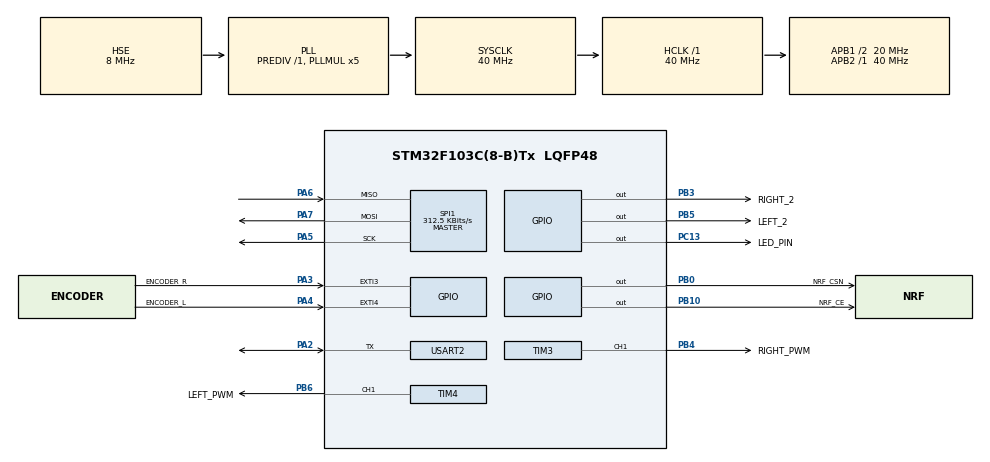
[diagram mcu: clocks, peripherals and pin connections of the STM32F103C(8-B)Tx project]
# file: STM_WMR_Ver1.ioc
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Mcu.Family=STM32F1
Mcu.Name=STM32F103C(8-B)Tx
Mcu.Package=LQFP48
NVIC.EXTI3_IRQn=true\:3\:0\:true\:false\:true\:true\:true
NVIC.EXTI4_IRQn=true\:4\:0\:true\:false\:true\:true\:true
NVIC.PriorityGroup=NVIC_PRIORITYGROUP_4
NVIC.TIM1_BRK_IRQn=true\:1\:0\:true\:false\:true\:true\:true
NVIC.TIM2_IRQn=true\:2\:0\:true\:false\:true\:true\:true
PA13.Mode=Serial_Wire
PA13.Signal=SYS_JTMS-SWDIO
PA14.Mode=Serial_Wire
PA14.Signal=SYS_JTCK-SWCLK
PA2.Mode=Half_duplex(single_wire_mode)
PA2.Signal=USART2_TX
PA3.GPIO_Label=ENCODER_R
PA3.GPIO_PuPd=GPIO_NOPULL
PA3.Signal=GPXTI3
PA4.GPIO_Label=ENCODER_L
PA4.GPIO_PuPd=GPIO_NOPULL
PA4.Signal=GPXTI4
PA5.Mode=Full_Duplex_Master
PA5.Signal=SPI1_SCK
PA6.Mode=Full_Duplex_Master
PA6.Signal=SPI1_MISO
PA7.Mode=Full_Duplex_Master
PA7.Signal=SPI1_MOSI
PB0.GPIO_Label=NRF_CSN
PB0.GPIO_Speed=GPIO_SPEED_FREQ_HIGH
PB0.Signal=GPIO_Output
PB10.GPIO_Label=NRF_CE
PB10.GPIO_Speed=GPIO_SPEED_FREQ_HIGH
PB10.Signal=GPIO_Output
PB3.GPIO_Label=RIGHT_2
PB3.GPIO_PuPd=GPIO_PULLDOWN
PB3.Signal=GPIO_Output
PB4.GPIO_Label=RIGHT_PWM
PB4.Signal=S_TIM3_CH1
PB5.GPIO_Label=LEFT_2
PB5.GPIO_PuPd=GPIO_PULLDOWN
PB5.Signal=GPIO_Output
PB6.GPIO_Label=LEFT_PWM
PB6.Signal=S_TIM4_CH1
PC13-TAMPER-RTC.GPIO_Label=LED_PIN
PC13-TAMPER-RTC.Signal=GPIO_Output
PD0-OSC_IN.Mode=HSE-External-Oscillator
PD0-OSC_IN.Signal=RCC_OSC_IN
PD1-OSC_OUT.Mode=HSE-External-Oscillator
PD1-OSC_OUT.Signal=RCC_OSC_OUT
ProjectManager.HeapSize=0x200
ProjectManager.StackSize=0x400
ProjectManager.TargetToolchain=MDK-ARM V5
RCC.AHBFreq_Value=40000000
RCC.APB1CLKDivider=RCC_HCLK_DIV2
RCC.APB1Freq_Value=20000000
RCC.APB1TimFreq_Value=40000000
RCC.APB2Freq_Value=40000000
RCC.APB2TimFreq_Value=40000000
RCC.HCLKFreq_Value=40000000
RCC.PLLMUL=RCC_PLL_MUL5
RCC.PLLSourceVirtual=RCC_PLLSOURCE_HSE
RCC.SYSCLKFreq_VALUE=40000000
RCC.SYSCLKSource=RCC_SYSCLKSOURCE_PLLCLK
RCC.USBFreq_Value=40000000
SH.S_TIM3_CH1.0=TIM3_CH1,PWM Generation1 CH1
SH.S_TIM4_CH1.0=TIM4_CH1,PWM Generation1 CH1
SPI1.BaudRatePrescaler=SPI_BAUDRATEPRESCALER_128
SPI1.CalculateBaudRate=312.5 KBits/s
SPI1.Direction=SPI_DIRECTION_2LINES
SPI1.Mode=SPI_MODE_MASTER
SPI1.VirtualType=VM_MASTER
TIM1.Period=999
TIM1.Prescaler=39
TIM2.ClockDivision=TIM_CLOCKDIVISION_DIV4
TIM2.Period=999
TIM2.Prescaler=399
TIM3.Channel-PWM\ Generation1\ CH1=TIM_CHANNEL_1
TIM3.ClockDivision=TIM_CLOCKDIVISION_DIV1
TIM3.Period=99
TIM3.Prescaler=999
TIM4.Channel-PWM\ Generation1\ CH1=TIM_CHANNEL_1
TIM4.ClockDivision=TIM_CLOCKDIVISION_DIV1
TIM4.Period=99
TIM4.Prescaler=999
USART2.VirtualMode=VM_ASYNC
VP_TIM1_VS_ClockSourceINT.Mode=Internal
VP_TIM2_VS_ClockSourceINT.Mode=Internal
VP_TIM3_VS_ClockSourceINT.Mode=Internal
VP_TIM4_VS_ClockSourceINT.Mode=Internal
board=custom

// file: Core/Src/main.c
/* USER CODE BEGIN Header */
/**
  ******************************************************************************
  * @file           : main.c
  * @brief          : Main program body
  ******************************************************************************
  * @attention
  *
  * <h2><center>&copy; Copyright (c) 2020 STMicroelectronics.
  * All rights reserved.</center></h2>
  *
  * This software component is licensed by ST under BSD 3-Clause license,
  * the "License"; You may not use this file except in compliance with the
  * License. You may obtain a copy of the License at:
  *                        opensource.org/licenses/BSD-3-Clause
  *
  ******************************************************************************
  */
/* USER CODE END Header */
#include "main.h"
#include "spi.h"
#include "tim.h"
#include "usart.h"
#include "gpio.h"

/* USER CODE BEGIN Includes */
#include "nrf24.h"
#include <stdbool.h>
#include "pid.h"
#include "systick.h"
//#include "mpu6050.h"
/* USER CODE END Includes */

/* USER CODE BEGIN PD */
#define ENCODER_PPR 334
#define PID_INNER_COUNT 10
#define TIMER_LEFT &htim4
#define TIMER_RIGHT	&htim3
#define EXTI_INT_ON 0x18
#define PWM_COUNTER	10000
#define LEFT_WHEEL 0
#define RIGHT_WHEEL 1

/*******Start Reload for Motor to run********/
#define MIN_PWM_CNT 3000
/* USER CODE END PD */

/* USER CODE BEGIN PV */

/*********Position Feedback Variables***********/
float x_fb_old;
float y_fb_old;
float x_fb;
float y_fb;
float phi_fb;
/***********************************************/

/*********Speed Feedback Variables**************/
float measured_right_speed, measured_left_speed;
uint32_t right_wheel_count = 0, left_wheel_count = 0; //use to count encoder of 2 wheels
float v_measure;
float w_measure;

//Duty cycle for pwm
float left_duty, right_duty;
/***********************************************/

/*********Interrupt Variables*******************/
bool htim2_check = 0;
bool timer2_flag = false;
uint16_t tick_10ms = 0;
bool new_measure = 0;
bool new_pos_measure = 0;
/***********************************************/

/*********Time Variables************/
uint32_t g_systick = 0;
/***********************************/

/**********Extern Variables**************/
extern uint8_t nRF24_payload[6];
/*
 * Byte 0: x decimal
 * 			1: x fraction
 * 			2: y decimal
 * 			3: y fraction
 */
/***************************************/

/***********Main Calculation Variables*************/
float x_pos, y_pos;
//Set parameter for control motor
float v_ref, w_ref; //output of kinematic control
float w_right_ref, w_left_ref;		//reference rotational speed of 2 wheels inner loop

float w_left_cal = 0, w_right_cal = 0;
float left_torque, right_torque;
float left_error = 0, right_error = 0;

float delta_r, delta_l; //output of compensator

uint8_t inner_loop_count = PID_INNER_COUNT;
/*************************************************/

/*********Variables for testing purpose***********/
//uint8_t uart_send[13];
//uint8_t temp;
//uint8_t count = 0;
/*************************************************/

/* USER CODE END PV */

void SystemClock_Config(void);
/* USER CODE BEGIN PFP */
void PWM_ChangeDuty(TIM_HandleTypeDef *htim, float duty, uint8_t wheel); //only used for TIM3 and TIM4 to control motor

void WheelRotationCalculate(void);
void task_100ms(void);
void PID_InnerLoopTask(void);
void PID_OutterLoopTask(void);
/* USER CODE END PFP */

int main(void)
{

  /* MCU Configuration--------------------------------------------------------*/

  /* Reset of all peripherals, Initializes the Flash interface and the Systick. */
  HAL_Init();

  /* Configure the system clock */
  SystemClock_Config();

  /* Initialize all configured peripherals */
  MX_GPIO_Init();
  MX_SPI1_Init();
  MX_TIM1_Init();
  MX_TIM2_Init();
  MX_TIM3_Init();
  MX_TIM4_Init();
  MX_USART2_UART_Init();
  /* USER CODE BEGIN 2 */
	HAL_TIM_Base_Start_IT(&htim2);
	HAL_TIM_Base_Start_IT(&htim1);
	HAL_TIM_PWM_Start(&htim3, TIM_CHANNEL_1);
	HAL_TIM_PWM_Start(&htim4, TIM_CHANNEL_1);

	HAL_GPIO_WritePin(GPIOC, GPIO_PIN_13, GPIO_PIN_RESET);

	HAL_Delay(1000);

	HAL_GPIO_WritePin(GPIOC, GPIO_PIN_13, GPIO_PIN_SET);
	HAL_GPIO_WritePin(GPIOB, LEFT_2_Pin | RIGHT_2_Pin, GPIO_PIN_RESET);
	HAL_TIM_Base_Start_IT(&htim2);
	HAL_TIM_Base_Start_IT(&htim1);
	HAL_Delay(1000);
	runRadio();

  /* USER CODE END 2 */

  /* Infinite loop */
  /* USER CODE BEGIN WHILE */
	while (1)
	{
		/***************** Main Program ********************/

		//check position, calculate feedback value
		task_100ms();
		PID_OutterLoopTask();
		PID_InnerLoopTask();
		PWM_ChangeDuty(TIMER_RIGHT, right_duty, RIGHT_WHEEL);
		PWM_ChangeDuty(TIMER_LEFT, left_duty, LEFT_WHEEL);
		//__HAL_TIM_SET_COMPARE(&htim3, TIM_CHANNEL_1, 2990);
		//__HAL_TIM_SET_COMPARE(&htim4, TIM_CHANNEL_1, 2990);
		//WheelRotationCalculate();
		//Note: changing duty to 100ms
		//Note2: duty cycle = 30% => run 150rpm

		//Note3: duty = 99% => run 240 - 339rpm

		/*
		PWM_ChangeDuty(&htim3, 99);
		PWM_ChangeDuty(&htim4, 99);
		WheelRotationCalculate();
		*/
		/***************** End Main Prg ********************/

		/***************** Test Program ********************/
		/*
		// Measure speed of motor
		if(htim2_check == 1) {
			WheelRotationCalculate();
			uart_send[0] = (uint8_t)measuared_right_speed/10 + 48;
			uart_send[1] = (uint8_t)right_speed%10 + 48;
			temp = (uint8_t)((right_speed - (uint8_t)right_speed)*100);
			uart_send[2] = temp/10 + 48;
			uart_send[3] = temp%10 + 48;

			uart_send[6] = (uint8_t)left_speed/10 + 48;
			uart_send[7] = (uint8_t)left_speed%10 + 48;
			temp = (uint8_t)((left_speed - (uint8_t)left_speed)*100);
			uart_send[8] = temp/10 + 48;
			uart_send[9] = temp%10 + 48;

			count++;
			if(count == 10) {
				count = 0;
				HAL_UART_Transmit(&huart2, (uint8_t*)uart_send, 13, HAL_MAX_DELAY);
			}

		}
		*/

		/*
		WheelRotationCalculate();
		//HAL_Delay(100);
		for(uint32_t i = 0; i < 0xFFFFF; i++);
		PWM_ChangeDuty(&htim3, 30);
		PWM_ChangeDuty(&htim4, 30);
		*/
		/***************** End Test Prg ********************/
    /* USER CODE END WHILE */

	}
}

void SystemClock_Config(void)
{
  RCC_OscInitTypeDef RCC_OscInitStruct = {0};
  RCC_ClkInitTypeDef RCC_ClkInitStruct = {0};

  /** Initializes the RCC Oscillators according to the specified parameters
  * in the RCC_OscInitTypeDef structure.
  */
  RCC_OscInitStruct.OscillatorType = RCC_OSCILLATORTYPE_HSE;
  RCC_OscInitStruct.HSEState = RCC_HSE_ON;
  RCC_OscInitStruct.HSEPredivValue = RCC_HSE_PREDIV_DIV1;
  RCC_OscInitStruct.HSIState = RCC_HSI_ON;
  RCC_OscInitStruct.PLL.PLLState = RCC_PLL_ON;
  RCC_OscInitStruct.PLL.PLLSource = RCC_PLLSOURCE_HSE;
  RCC_OscInitStruct.PLL.PLLMUL = RCC_PLL_MUL5;
  if (HAL_RCC_OscConfig(&RCC_OscInitStruct) != HAL_OK)
  {
    Error_Handler();
  }
  /** Initializes the CPU, AHB and APB buses clocks
  */
  RCC_ClkInitStruct.ClockType = RCC_CLOCKTYPE_HCLK|RCC_CLOCKTYPE_SYSCLK
                              |RCC_CLOCKTYPE_PCLK1|RCC_CLOCKTYPE_PCLK2;
  RCC_ClkInitStruct.SYSCLKSource = RCC_SYSCLKSOURCE_PLLCLK;
  RCC_ClkInitStruct.AHBCLKDivider = RCC_SYSCLK_DIV1;
  RCC_ClkInitStruct.APB1CLKDivider = RCC_HCLK_DIV2;
  RCC_ClkInitStruct.APB2CLKDivider = RCC_HCLK_DIV1;

  if (HAL_RCC_ClockConfig(&RCC_ClkInitStruct, FLASH_LATENCY_1) != HAL_OK)
  {
    Error_Handler();
  }
}

/* USER CODE BEGIN 4 */

/***********Interrupt Callback Function****************/
void HAL_GPIO_EXTI_Callback(uint16_t GPIO_Pin)
{
	if (GPIO_Pin == GPIO_PIN_3)
	{
		right_wheel_count++;
		return;
	}
	if (GPIO_Pin == GPIO_PIN_4)
	{
		left_wheel_count++;
		return;
	}
}

void HAL_TIM_PeriodElapsedCallback(TIM_HandleTypeDef *htim)
{ //measure pulse of encoder timeout

	if (htim->Instance == TIM2)
	{

		timer2_flag = true;
		//htim2.Instance->CNT = 0x00;					//set counter = 0 to restart
		//measure in 10ms
		htim2_check = 1;
		//new_measure = 1;
		tick_10ms++;
		WheelRotationCalculate();
	}
	if(htim->Instance == TIM1) g_systick++;
}

/**************Main Calculation Function********************/
void PWM_ChangeDuty(TIM_HandleTypeDef *htim, float duty, uint8_t wheel)
{
	if(wheel == LEFT_WHEEL) {
		if(duty > 0) GPIO_LeftWheelTurn(FORWARD_DIRECTION);
		else {
			GPIO_LeftWheelTurn(BACKWARD_DIRECTION);
			duty*= -1;
			duty = 100 - duty;				//do doi dien ap => phai doi counter nguoc lai
		}
	}

	if(wheel == RIGHT_WHEEL) {
		if(duty > 0) GPIO_RightWheelTurn(FORWARD_DIRECTION);
		else {
			GPIO_RightWheelTurn(BACKWARD_DIRECTION);
			duty*= -1;
			duty = 100 - duty;
		}
	}
	//duty = duty * PWM_COUNTER /100.0;									//change duty range from 100 -> 10000
	duty = duty*1000/100;
	if(duty > 4999) duty = 4999;
	__HAL_TIM_SET_COMPARE(htim, TIM_CHANNEL_1, (uint16_t)(duty - 1));
}

void PID_OutterLoopTask(void)
{
	if (inner_loop_count >= PID_INNER_COUNT)
	{
		//Set parameter for control motor
		//v_error = 0;
		//w_error = 0; //used for Compensator
		//motor control:
		PID_KinematicControl(x_fb, y_fb, phi_fb, &v_ref, &w_ref);
		v_measure = PID_MeasureVelocity(measured_left_speed, measured_right_speed);
		w_measure = PID_MeasureRotation(measured_left_speed, measured_right_speed);
		PID_DynamicInverse(v_ref, w_ref, v_measure, w_measure, &left_torque, &right_torque);
		PID_ReferenceInnerLoop(v_ref, w_ref, &w_right_ref, &w_left_ref);
		inner_loop_count = 0;
		//PID_InnerLoopTask();
	}
}

void PID_ConvertPositionRF(void)
{
	//handle data
	x_fb_old = x_fb;
	y_fb_old = y_fb;

	//getting new feedback position from nrf_payload
	x_fb = (float)nRF24_payload[1]/100.0;
	y_fb = (float)nRF24_payload[3]/100.0;
	//calculate phi_fb
	phi_fb = atan2(y_fb - y_fb_old, x_fb - x_fb_old);

	//after finishing handling data
	new_pos_measure = 0;
}
void PID_InnerLoopTask(void)
{
	inner_loop_count++;
	//WheelRotationCalculate();
	v_measure = PID_MeasureVelocity(measured_left_speed, measured_right_speed);
	w_measure = PID_MeasureRotation(measured_left_speed, measured_right_speed);
	PID_Compensator(w_left_ref, w_right_ref, &left_error, &right_error, measured_left_speed, measured_right_speed, &left_torque, &right_torque);
	//PID_OutputDynamicControl(right_torque, left_torque, delta_r, delta_l, &right_torque, &left_torque);
	PID_DynamicModel(right_torque, left_torque, v_measure, w_measure, &left_duty, &right_duty);
}

void WheelRotationCalculate(void)
{
	if (htim2_check == 1)
	{
		//Turn off interrupt
		HAL_TIM_Base_Stop_IT(&htim2);
		EXTI->IMR  &= ~(EXTI_INT_ON);

		//UART_SendInt(right_wheel_count);
		//UART_SendChar(' ');
		//UART_SendInt(left_wheel_count);
		//UART_SendChar('\n');
		measured_left_speed = ((float)left_wheel_count/(INNER_LOOP_PERIOD*ENCODER_PPR))*2*PI;
		measured_right_speed = ((float)right_wheel_count/(INNER_LOOP_PERIOD*ENCODER_PPR))*2*PI;

		right_wheel_count = 0;
		left_wheel_count = 0;

		htim2_check = 0;

		//enable interrupt
		HAL_TIM_Base_Start_IT(&htim2);
		EXTI->IMR |= EXTI_INT_ON;
	}
}
void task_100ms(void)
{
	if (timer2_flag)
	{
		if (tick_10ms >= 10)
		{
			//UART_SendStr("in timer ");
			radio_receive();
			//PID_InnerLoopTask();
			PID_ConvertPositionRF();
			tick_10ms = 0;
		}
	}
	timer2_flag = false;
}
/* USER CODE END 4 */

void Error_Handler(void)
{
}

/************************ (C) COPYRIGHT STMicroelectronics *****END OF FILE****/
